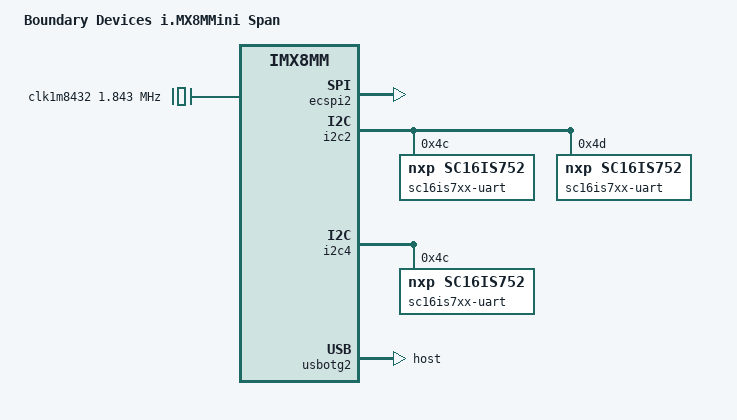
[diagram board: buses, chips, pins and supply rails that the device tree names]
// SPDX-License-Identifier: (GPL-2.0+ OR MIT)
/*
 * Copyright 2019 Boundary Devices
 */

#define SKIP_MIPI_PANELS
#include "imx8mm-nitrogen8mm_som.dts"
&iomuxc {
	pinctrl-names = "default";
	pinctrl-0 = <&pinctrl_hog>;

	/delete-node/ ecspi2-mcp2515tgrp;
	/delete-node/ sn65dsi83grp;
	/delete-node/ ts-gt911grp;
	/delete-node/ ts-ft5x06grp;
	/delete-node/ ts-ft7250grp;
	/delete-node/ ts-gslx680grp;
	/delete-node/ ts-st1633grp;
	/delete-node/ i2c3b-ov5640-mipigrp;
	/delete-node/ pwm1grp;
	/delete-node/ pwm2grp;
	/delete-node/ pwm3grp;
	/delete-node/ pwm4grp;
	/delete-node/ sai1grp;
	/delete-node/ sai2grp;
	/delete-node/ sai3grp;
	/delete-node/ sai5grp;
	/delete-node/ sound-wm8960grp;

	pinctrl_ecspi2: ecspi2grp {
		fsl,pins = <
			/* U5 XBEE */
#define GP_ECSPI2_CS0		<&gpio5 13 GPIO_ACTIVE_LOW>
			MX8MM_IOMUXC_ECSPI2_SS0_GPIO5_IO13		0x140
			MX8MM_IOMUXC_ECSPI2_MISO_ECSPI2_MISO		0x19
			MX8MM_IOMUXC_ECSPI2_SCLK_ECSPI2_SCLK		0x19
			MX8MM_IOMUXC_ECSPI2_MOSI_ECSPI2_MOSI		0x19
#define GP_XBEE_DTR		<&gpio4 2 GPIO_ACTIVE_LOW>
			MX8MM_IOMUXC_SAI1_RXD0_GPIO4_IO2		0x140
#define GP_XBEE_RESET		<&gpio4 1 GPIO_ACTIVE_LOW>
			MX8MM_IOMUXC_SAI1_RXC_GPIO4_IO1			0x100
#define GP_XBEE_SLEEP		<&gpio4 0 GPIO_ACTIVE_LOW>
			MX8MM_IOMUXC_SAI1_RXFS_GPIO4_IO0		0x100
#if 0
#define GP_XBEE_EN		<&gpio4 7 GPIO_ACTIVE_HIGH>
			MX8MM_IOMUXC_SAI1_RXD5_GPIO4_IO7		0x100
#endif
		>;
	};

	pinctrl_hog: hoggrp {
		fsl,pins = <
			/* Silex, J12 pin 2 */
			MX8MM_IOMUXC_SD1_STROBE_GPIO2_IO11		0x100
			/* Silex, J12 pin 4 */
			MX8MM_IOMUXC_SAI2_RXFS_GPIO4_IO21		0x100 /*WL_WAKE_HOST*/

			MX8MM_IOMUXC_SAI2_TXC_GPIO4_IO25		0x100 /*SUSPEND*/
			MX8MM_IOMUXC_SAI2_RXD0_GPIO4_IO23		0x100 /*WAKEUP*/
			MX8MM_IOMUXC_SAI5_RXFS_GPIO3_IO19		0x100 /*GPIO_2*/
			MX8MM_IOMUXC_SAI1_TXD1_GPIO4_IO13		0x100 /*GPI_0*/
			MX8MM_IOMUXC_SAI1_TXD2_GPIO4_IO14		0x100 /*GPI_1*/
			MX8MM_IOMUXC_SAI1_TXC_GPIO4_IO11		0x100 /*GPO_0*/
			MX8MM_IOMUXC_SAI1_TXD0_GPIO4_IO12		0x100 /*GPO_1*/
			MX8MM_IOMUXC_SAI2_TXD0_GPIO4_IO26		0x100 /*BOOT0*/
			MX8MM_IOMUXC_SAI2_RXC_GPIO4_IO22		0x100 /*BOOT1*/
			MX8MM_IOMUXC_SAI5_RXD3_GPIO3_IO24		0x140 /*GPIO_5*/
			MX8MM_IOMUXC_SAI3_TXD_GPIO5_IO1			0x140 /*LED_LINK100*/
			MX8MM_IOMUXC_SAI5_RXD2_GPIO3_IO23		0x1c0 /*GPIO_3*/
			MX8MM_IOMUXC_SAI1_TXD7_GPIO4_IO19		0x100 /*GPIO_0*/
			MX8MM_IOMUXC_SAI5_RXD1_GPIO3_IO22		0x100 /*GPIO_1*/
			MX8MM_IOMUXC_SAI5_RXD0_GPIO3_IO21		0x100 /*GPIO_4*/
			MX8MM_IOMUXC_SAI1_TXFS_GPIO4_IO10		0x100 /*COMPUTE_PWR_EN*/
			MX8MM_IOMUXC_SAI1_TXD6_GPIO4_IO18		0x100 /*ROOT_RST*/
			MX8MM_IOMUXC_SAI1_TXD5_GPIO4_IO17		0x100 /*RS485_AUX_TXEN*/
			MX8MM_IOMUXC_SAI1_TXD4_GPIO4_IO16		0x100 /*RS485_METERING_TXEN*/
			MX8MM_IOMUXC_SAI1_TXD3_GPIO4_IO15		0x100 /*RS485_INVERTER_TXEN*/
			MX8MM_IOMUXC_SAI1_RXD5_GPIO4_IO7		0x100 /*XBEE_PWR_EN*/
		>;
	};

	pinctrl_i2c2a_sc16is7xx: i2c2a-sc16is7xxgrp {
		fsl,pins = <
#define GPIRQ_SC16IS7XX		<&gpio4 3 IRQ_TYPE_EDGE_FALLING>
			MX8MM_IOMUXC_SAI1_RXD1_GPIO4_IO3		0x1c0
#define GP_SC16IS7XX_RESET	<&gpio4 5 GPIO_ACTIVE_LOW>
			MX8MM_IOMUXC_SAI1_RXD3_GPIO4_IO5		0x100
		>;
	};

	pinctrl_i2c2b_sc16is7xx: i2c2b-sc16is7xxgrp {
		fsl,pins = <
#define GPIRQ2_SC16IS7XX	<&gpio4 4 IRQ_TYPE_EDGE_FALLING>
			MX8MM_IOMUXC_SAI1_RXD2_GPIO4_IO4		0x1c0
#define GP_SC16IS7XX_RESET2	<&gpio4 6 GPIO_ACTIVE_LOW>
			MX8MM_IOMUXC_SAI1_RXD4_GPIO4_IO6		0x100
		>;
	};

	pinctrl_i2c4_sc16is7xx: i2c4-sc16is7xxgrp {
		fsl,pins = <
#define GPIRQ3_SC16IS7XX        <&gpio4 30 IRQ_TYPE_EDGE_FALLING>
			MX8MM_IOMUXC_SAI3_RXD_GPIO4_IO30                0x1c0
#define GP_SC16IS7XX_RESET3     <&gpio4 9 GPIO_ACTIVE_LOW>
			MX8MM_IOMUXC_SAI1_RXD7_GPIO4_IO9                0x100
		>;
	};

	pinctrl_pcie0: pcie0grp {
		fsl,pins = <
#define GP_PCIE0_RESET		<&gpio4 31 GPIO_ACTIVE_LOW>
			MX8MM_IOMUXC_SAI3_TXFS_GPIO4_IO31		0x100
#define GP_PCIE0_DISABLE	<&gpio1 4 GPIO_ACTIVE_LOW>
			MX8MM_IOMUXC_GPIO1_IO04_GPIO1_IO4		0x100
#define GP_PCIE0_PWEN		<&gpio4 8 GPIO_ACTIVE_HIGH>
			MX8MM_IOMUXC_SAI1_RXD6_GPIO4_IO8		0x140

		>;
	};

	pinctrl_usbotg1: usbotg1grp {
		fsl,pins = <
			MX8MM_IOMUXC_GPIO1_IO12_USB1_OTG_PWR		0x16
			MX8MM_IOMUXC_GPIO1_IO13_USB1_OTG_OC		0x156
		>;
	};

	pinctrl_usbotg2: usbotg2grp {
		fsl,pins = <
#define GP_OTG2_HUB_RESET		<&gpio3 5 GPIO_ACTIVE_LOW>
			MX8MM_IOMUXC_NAND_CLE_GPIO3_IO5			0x140
		>;
	};

};

/ {
	model = "Boundary Devices i.MX8MMini Span";
	compatible = "boundary,imx8mm-span", "fsl,imx8mm";

	/delete-node/ csi-mclk;
	/delete-node/ mipi-xclk;
	/delete-node/ sound-wm8960;

	aliases {
		/delete-property/ a53;
		/delete-property/ reg_buck4;
		/delete-property/ sai1;
		/delete-property/ sai2;
		/delete-property/ sai3;
		/delete-property/ sai5;
	};

	clocks {
		clk1m8432: clk1m8432 {
			compatible = "fixed-clock";
			#clock-cells = <0>;
			clock-frequency = <1843200>;
		};

	};

};

/delete-node/ &csi1_bridge;
/delete-node/ &display_subsystem;
/delete-node/ &mipi_csi_1;
/delete-node/ &pwm1;
/delete-node/ &pwm2;
/delete-node/ &pwm3;
/delete-node/ &pwm4;
/delete-node/ &sai1;
/delete-node/ &sai2;
/delete-node/ &sai3;
/delete-node/ &sai5;

&ecspi2 {
	pinctrl-names = "default";
	pinctrl-0 = <&pinctrl_ecspi2>;
	fsl,spi-num-chipselects = <1>;
	cs-gpios = GP_ECSPI2_CS0;
	status = "okay";
	#address-cells = <1>;
	#size-cells = <0>;

	/delete-node/ can@0;
};

&i2c2 {
	/delete-node/ i2cmux@70;

	sc16is7xx-uart@4c {
		clocks = <&clk1m8432>;
		compatible = "nxp,sc16is752";
		pinctrl-names = "default";
		pinctrl-0 = <&pinctrl_i2c2a_sc16is7xx>;
		reg = <0x4c>;
		reset-gpios = GP_SC16IS7XX_RESET;
		interrupts-extended = GPIRQ_SC16IS7XX;
	};

	sc16is7xx-uart@4d {
		clocks = <&clk1m8432>;
		compatible = "nxp,sc16is752";
		pinctrl-names = "default";
		pinctrl-0 = <&pinctrl_i2c2b_sc16is7xx>;
		reg = <0x4d>;
		reset-gpios = GP_SC16IS7XX_RESET2;
		interrupts-extended = GPIRQ2_SC16IS7XX;
	};
};

&i2c3 {
	/delete-node/ ov5640-mipi1@3c;
};

&i2c4 {
	/delete-node/ codec@1a;

	sc16is7xx-uart@4c {
		clocks = <&clk1m8432>;
		compatible = "nxp,sc16is752";
		pinctrl-names = "default";
		pinctrl-0 = <&pinctrl_i2c4_sc16is7xx>;
		reg = <0x4c>;
		reset-gpios = GP_SC16IS7XX_RESET3;
		interrupts-extended = GPIRQ3_SC16IS7XX;
	};
};

&usbotg2 {
	disable-over-current;
	dr_mode = "host";
	pinctrl-names = "default";
	pinctrl-0 = <&pinctrl_usbotg2>;
	power-active-high;
	reset-gpios = GP_OTG2_HUB_RESET;
	status = "okay";
};
